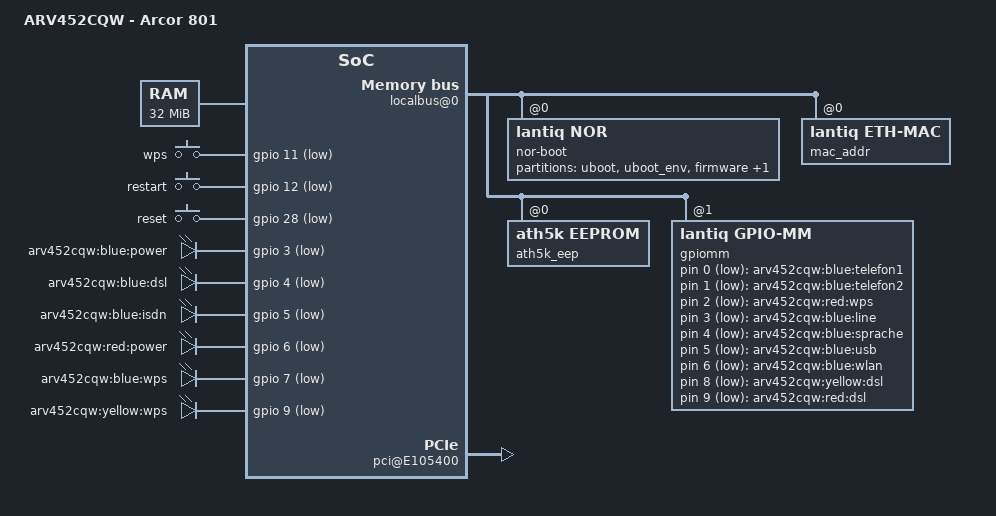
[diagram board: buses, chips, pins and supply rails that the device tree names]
/dts-v1/;

/include/ "danube.dtsi"

/ {
	model = "ARV452CQW - Arcor 801";

	chosen {
		bootargs = "console=ttyLTQ0,115200 init=/etc/preinit";

		leds {
			boot = &power_blue;
			failsafe = &power_red;
			running = &power_blue;

			internet = &dsl_blue;
			usb = &usb;
			wifi = &wifi;
		};
	};

	memory@0 {
		reg = <0x0 0x2000000>;
	};

	sram@1F000000 {
		vmmc@107000 {
			status = "okay";
			gpios = <&gpio 31 0
				&gpiomm 7 0>;
		};
	};

	fpi@10000000 {
		localbus@0 {
			nor-boot@0 {
				compatible = "lantiq,nor";
				bank-width = <2>;
				reg = <0 0x0 0x400000>;
				#address-cells = <1>;
				#size-cells = <1>;

				partition@0 {
					label = "uboot";
					reg = <0x00000 0x10000>;
					read-only;
				};

				partition@10000 {
					label = "uboot_env";
					reg = <0x10000 0x10000>;
					read-only;
				};

				partition@20000 {
					label = "firmware";
					reg = <0x20000 0x3d0000>;
				};

				partition@3f0000 {
					label = "boardconfig";
					reg = <0x3f0000 0x10000>;
					read-only;
				};
			};

			mac_addr {
				compatible = "lantiq,eth-mac";
				reg = <0 0x3f0016 0x6>;
				mac-increment = <2>;
			};

			ath5k_eep {
				compatible = "ath5k,eeprom";
				reg = <0 0x3f0400 0x1000>;
				ath,mac-offset = <0>;
				ath,eep-swap;
			};
			gpiomm: gpiomm@4000000 {
				compatible = "lantiq,gpio-mm";
				reg = <1 0x0 0x10>;
				#address-cells = <1>;
				#size-cells = <1>;
				#gpio-cells = <2>;
				gpio-controller;
				lantiq,shadow = <0x77f>;
			};
		};

		gpio: pinmux@E100B10 {
			pinctrl-names = "default";
			pinctrl-0 = <&state_default>;

			state_default: pinmux {
				ebu {
					lantiq,groups = "ebu cs1";
					lantiq,function = "ebu";
				};
				pci_in {
					lantiq,groups = "req1";
					lantiq,function = "pci";
					lantiq,open-drain = <1>;
					lantiq,pull = <2>;
					lantiq,output = <0>;
				};
				pci_out {
					lantiq,groups = "gnt1";
					lantiq,function = "pci";
					lantiq,output = <1>;
				};
				pci_rst {
					lantiq,pins = "io21";
					lantiq,pull = <0>;
					lantiq,output = <1>;
				};
				leds {
					lantiq,pins = "io3", "io5", "io6", "io7", "io9";
					lantiq,output = <1>;
				};
			};
		};

		ifxhcd@E101000 {
			status = "okay";
			gpios = <&gpio 28 0>;
		};

		etop@E180000 {
			phy-mode = "rmii";
		};

		pci@E105400 {
			status = "okay";
			lantiq,external-clock;
			gpio-reset = <&gpio 21 0>;
		};

	};

/*
#define ARV452CPW_SWITCH_RESET          110
*/
	gpio-keys-polled {
		compatible = "gpio-keys-polled1";
		#address-cells = <1>;
		#size-cells = <0>;
		poll-interval = <100>;

		wps {
			label = "wps";
			gpios = <&gpio 11 1>;
			linux,code = <0x101>;
		};
		restart {
			label = "restart";
			gpios = <&gpio 12 1>;
			linux,code = <0x110>;
		};
		reset {
			label = "reset";
			gpios = <&gpio 28 1>;
			linux,code = <0x198>;
		};
	};

	gpio-leds {
		compatible = "gpio-leds";
		power_blue: power0 {
			label = "arv452cqw:blue:power";
			gpios = <&gpio 3 1>;
			default-state = "keep";
		};
		dsl_blue: dsl {
			label = "arv452cqw:blue:dsl";
			gpios = <&gpio 4 1>;
		};
		isdn {
			label = "arv452cqw:blue:isdn";
			gpios = <&gpio 5 1>;
		};
		power_red: power1 {
			label = "arv452cqw:red:power";
			gpios = <&gpio 6 1>;
		};
		wps {
			label = "arv452cqw:blue:wps";
			gpios = <&gpio 7 1>;
		};
		wps1 {
			label = "arv452cqw:yellow:wps";
			gpios = <&gpio 9 1>;
		};
		fxs1 {
			label = "arv452cqw:blue:telefon1";
			gpios = <&gpiomm 0 1>;
		};
		fxs2 {
			label = "arv452cqw:blue:telefon2";
			gpios = <&gpiomm 1 1>;
		};
		wps2 {
			label = "arv452cqw:red:wps";
			gpios = <&gpiomm 2 1>;
		};
		fxo {
			label = "arv452cqw:blue:line";
			gpios = <&gpiomm 3 1>;
		};
		voice {
			label = "arv452cqw:blue:sprache";
			gpios = <&gpiomm 4  1>;
		};
		usb: usb {
			label = "arv452cqw:blue:usb";
			gpios = <&gpiomm 5 1>;
		};
		wifi: wifi {
			label = "arv452cqw:blue:wlan";
			gpios = <&gpiomm 6 1>;
		};
		/*
			internet blue and internet red are missing
			dsl2 and dsl3 are not referenced in manual
		*/
		dsl2 {
			label = "arv452cqw:yellow:dsl";
			gpios = <&gpiomm 8 1>;
		};
		dsl3 {
			label = "arv452cqw:red:dsl";
			gpios = <&gpiomm 9 1>;
		};
	};
};
